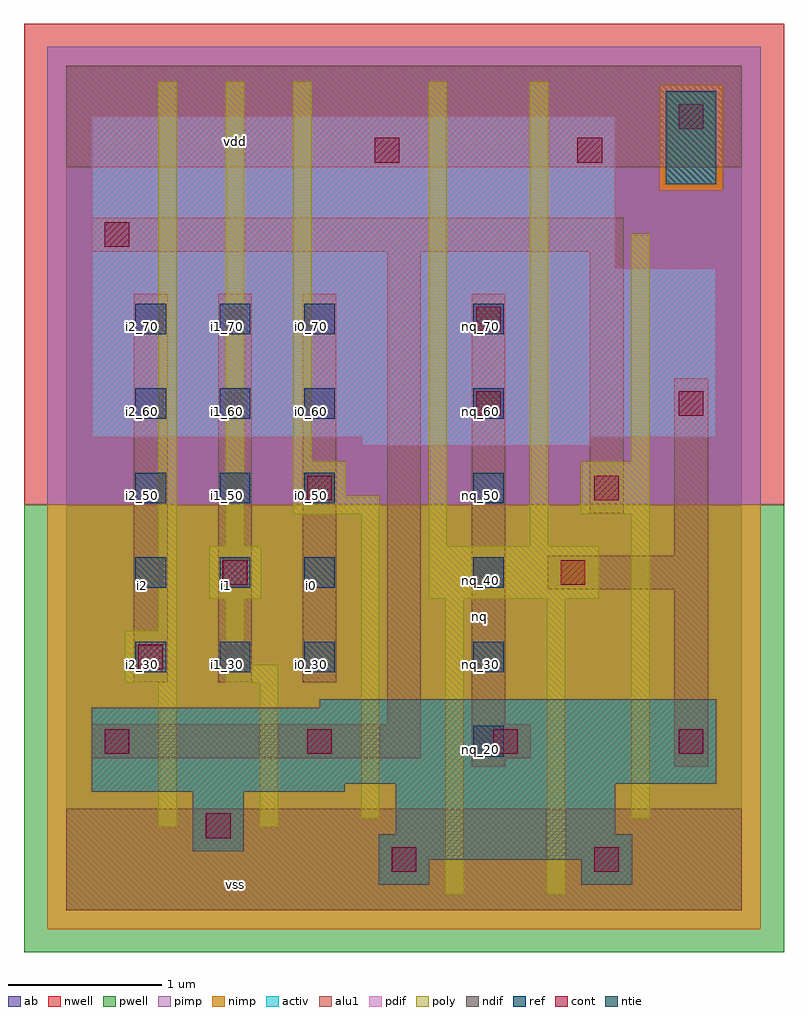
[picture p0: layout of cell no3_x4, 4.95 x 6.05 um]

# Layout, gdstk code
import gdstk
lib = gdstk.Library(unit=1e-6, precision=2.5e-09)
def R(c, l, rs):  # rectangles x0, y0, x1, y1
    for r in rs: c.add(gdstk.rectangle(r[:2], r[2:], *l))
def A(c, l, x, y, w, h, nx, ny, dx, dy):  # array of equal rectangles
    R(c, l, [(x+i*dx, y+j*dy, x+i*dx+w, y+j*dy+h) for i in range(nx) for j in range(ny)])
ndif = (3, 0)
pdif = (4, 0)
ntie = (5, 0)
ref = (24, 0)
cont = (25, 0)
pwell = (41, 0)
nwell = (42, 0)
activ = (43, 0)
pimp = (44, 0)
nimp = (45, 0)
poly = (46, 0)
alu1 = (49, 0)
ab = (63, 0)

no3_x4 = lib.new_cell('no3_x4')
R(no3_x4, ndif, [(2.035,0.165,2.365,0.33), (3.355,0.165,3.685,0.33), (2.035,0.33,3.685,0.495), (0.825,0.385,1.155,0.77), (2.145,0.495,3.575,0.825), (0.165,0.77,1.815,0.825), (0.165,0.825,4.235,1.32), (1.65,1.32,4.235,1.375)])
R(no3_x4, pdif, [(1.925,3.025,3.41,3.08), (0.165,3.08,4.235,4.18), (0.165,4.18,3.575,5.17)])
R(no3_x4, ntie, [(3.905,4.73,4.235,5.335)])
A(no3_x4, ref, 2.65, 1, 0.2, 0.2, 1, 6, 0, 0.55)
A(no3_x4, ref, 0.45, 1.55, 0.2, 0.2, 3, 5, 0.55, 0.55)
A(no3_x4, cont, 1.57, 1.02, 0.16, 0.16, 3, 1, 1.21, 0)
R(no3_x4, cont, [(2.12,0.25,2.28,0.41), (3.44,0.25,3.6,0.41), (0.91,0.47,1.07,0.63), (0.25,1.02,0.41,1.18), (0.47,1.57,0.63,1.73), (1.02,2.12,1.18,2.28), (3.22,2.12,3.38,2.28), (1.57,2.67,1.73,2.83), (3.44,2.67,3.6,2.83), (2.67,3.22,2.83,3.38), (3.99,3.22,4.15,3.38), (2.67,3.77,2.83,3.93), (0.25,4.32,0.41,4.48), (2.01,4.87,2.17,5.03), (3.33,4.87,3.49,5.03), (3.99,5.09,4.15,5.25)])
R(no3_x4, pwell, [(-0.275,-0.275,4.675,2.64)])
R(no3_x4, nwell, [(-0.275,2.64,4.675,5.775)])
R(no3_x4, activ, [(2.035,0.165,2.365,0.33), (3.355,0.165,3.685,0.33), (2.035,0.33,3.685,0.495), (0.825,0.385,1.155,0.77), (2.145,0.495,3.575,0.825), (0.165,0.77,1.815,0.825), (0.165,0.825,4.235,1.32), (1.65,1.32,4.235,1.375), (1.925,3.025,3.41,3.08), (0.165,3.08,4.235,4.18), (0.165,4.18,3.575,5.17), (3.905,4.73,4.235,5.335)])
R(no3_x4, pimp, [(-0.125,2.64,4.525,4.69), (-0.125,4.69,3.865,5.375), (4.275,4.69,4.525,5.375), (-0.125,5.375,4.525,5.625)])
R(no3_x4, nimp, [(-0.125,-0.125,4.525,2.64), (3.865,4.69,4.275,5.375)])
R(no3_x4, poly, [(2.47,0.105,2.59,2.03), (3.13,0.105,3.25,2.03), (0.6,0.545,0.72,1.48), (1.26,0.545,1.38,1.48), (1.92,0.6,2.04,2.58), (3.68,0.6,3.8,2.58), (0.38,1.48,0.72,1.82), (1.04,1.48,1.38,1.6), (1.04,1.6,1.16,2.03), (0.6,1.82,0.72,5.395), (0.93,2.03,1.27,2.37), (2.36,2.03,3.47,2.37), (1.04,2.37,1.16,5.395), (2.36,2.37,2.48,5.395), (3.02,2.37,3.14,5.395), (1.48,2.58,2.04,2.7), (3.35,2.58,3.8,2.92), (1.48,2.7,1.82,2.92), (1.48,2.92,1.6,5.395), (3.68,2.92,3.8,4.405)])
A(no3_x4, alu1, 0.44, 1.485, 0.22, 2.53, 3, 1, 0.55, 0)
R(no3_x4, alu1, [(0,0,4.4,0.66), (2.64,0.935,2.86,0.99), (3.96,0.935,4.18,2.09), (0.165,0.99,2.31,1.21), (2.64,0.99,3.025,1.21), (2.09,1.21,2.31,4.29), (2.64,1.21,2.86,4.015), (3.135,2.09,4.18,2.31), (3.96,2.31,4.18,3.465), (3.41,2.585,3.63,4.29), (0.165,4.29,3.63,4.51), (0,4.84,4.4,5.5)])
R(no3_x4, ab, [(0,0,4.4,5.5)])
no3_x4.add(gdstk.Label('vss', (1.1,0.165), layer=49, texttype=0))
no3_x4.add(gdstk.Label('nq', (2.695,1.91), layer=49, texttype=0))
no3_x4.add(gdstk.Label('i0', (1.595,2.1175), layer=49, texttype=0))
no3_x4.add(gdstk.Label('i1', (1.045,2.1175), layer=49, texttype=0))
no3_x4.add(gdstk.Label('i2', (0.495,2.1175), layer=49, texttype=0))
no3_x4.add(gdstk.Label('vdd', (1.1,5.005), layer=49, texttype=0))
no3_x4.add(gdstk.Label('nq_20', (2.7,1.05), layer=24, texttype=0))
no3_x4.add(gdstk.Label('i2_70', (0.5,3.8), layer=24, texttype=0))
no3_x4.add(gdstk.Label('i2_30', (0.5,1.6), layer=24, texttype=0))
no3_x4.add(gdstk.Label('i2_40', (0.5,2.15), layer=24, texttype=0))
no3_x4.add(gdstk.Label('i2_50', (0.5,2.7), layer=24, texttype=0))
no3_x4.add(gdstk.Label('i2_60', (0.5,3.25), layer=24, texttype=0))
no3_x4.add(gdstk.Label('i1_70', (1.05,3.8), layer=24, texttype=0))
no3_x4.add(gdstk.Label('i1_60', (1.05,3.25), layer=24, texttype=0))
no3_x4.add(gdstk.Label('i1_50', (1.05,2.7), layer=24, texttype=0))
no3_x4.add(gdstk.Label('i1_40', (1.05,2.15), layer=24, texttype=0))
no3_x4.add(gdstk.Label('i1_30', (1.05,1.6), layer=24, texttype=0))
no3_x4.add(gdstk.Label('i0_30', (1.6,1.6), layer=24, texttype=0))
no3_x4.add(gdstk.Label('i0_40', (1.6,2.15), layer=24, texttype=0))
no3_x4.add(gdstk.Label('i0_50', (1.6,2.7), layer=24, texttype=0))
no3_x4.add(gdstk.Label('i0_60', (1.6,3.25), layer=24, texttype=0))
no3_x4.add(gdstk.Label('i0_70', (1.6,3.8), layer=24, texttype=0))
no3_x4.add(gdstk.Label('nq_70', (2.7,3.8), layer=24, texttype=0))
no3_x4.add(gdstk.Label('nq_60', (2.7,3.25), layer=24, texttype=0))
no3_x4.add(gdstk.Label('nq_50', (2.7,2.7), layer=24, texttype=0))
no3_x4.add(gdstk.Label('nq_40', (2.7,2.15), layer=24, texttype=0))
no3_x4.add(gdstk.Label('nq_30', (2.7,1.6), layer=24, texttype=0))

lib.write_gds('no3_x4.gds')
